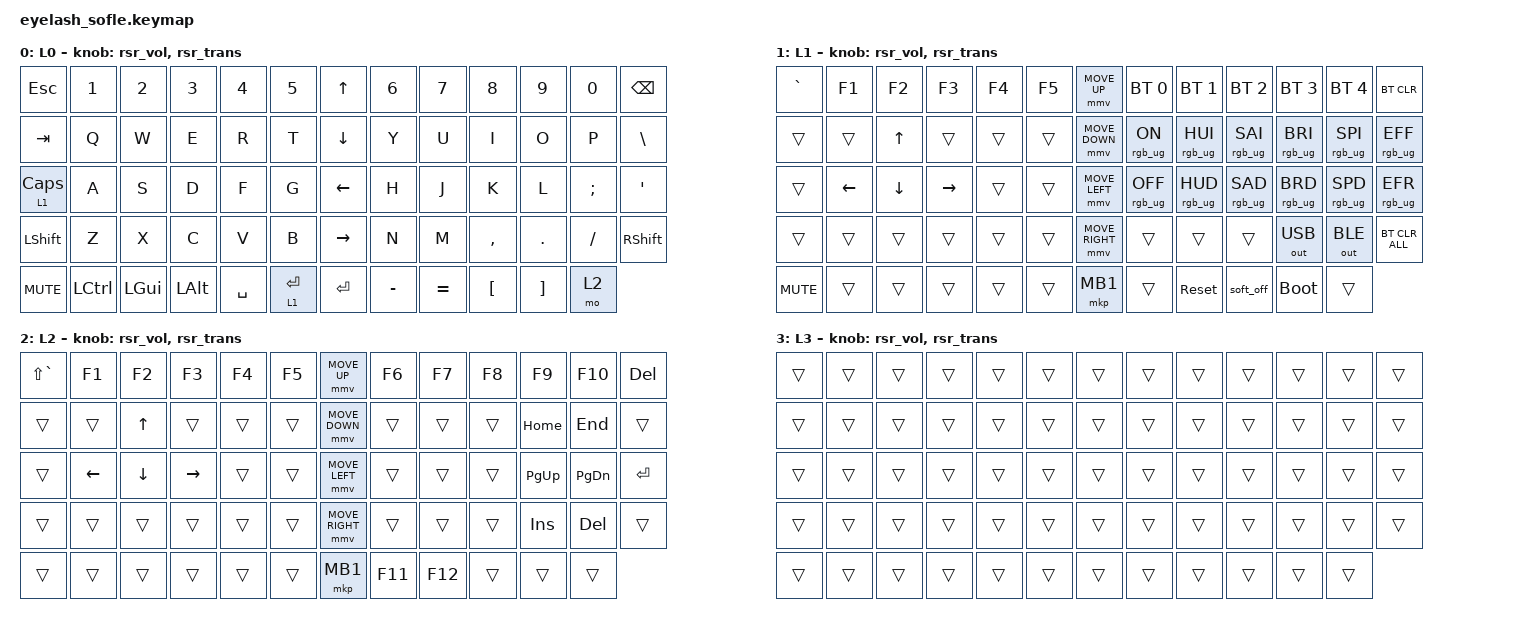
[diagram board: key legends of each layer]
#define ZMK_POINTING_DEFAULT_MOVE_VAL 1200  // 600
#define ZMK_POINTING_DEFAULT_SCRL_VAL 25   // 10

#include <input/processors.dtsi>
#include <zephyr/dt-bindings/input/input-event-codes.h>
#include <behaviors.dtsi>
#include <behaviors/runtime-sensor-rotate.dtsi>
#include <dt-bindings/zmk/bt.h>
#include <dt-bindings/zmk/keys.h>
#include <dt-bindings/zmk/outputs.h>
#include <dt-bindings/zmk/pointing.h>
#include <dt-bindings/zmk/rgb.h>

&mmv_input_listener { input-processors = <&zip_xy_scaler 2 1>; };

&msc_input_listener { input-processors = <&zip_scroll_scaler 2 1>; };

&msc {
    acceleration-exponent = <1>;      // 0
    time-to-max-speed-ms = <100>;       // 300
    delay-ms = <0>;                   // 0
};

&mmv {
    time-to-max-speed-ms = <500>;
    acceleration-exponent = <1>;
    trigger-period-ms = <16>;
};

&soft_off { hold-time-ms = <2000>; };

/ {
    scroll_encoder: scroll_encoder {
        compatible = "zmk,behavior-sensor-rotate";
        #sensor-binding-cells = <0>;
        bindings = <&msc SCRL_DOWN>, <&msc SCRL_UP>;

        tap-ms = <100>;
    };

    behaviors {
        rsr_vol: rsr_vol {
            compatible = "zmk,behavior-runtime-sensor-rotate";
            #sensor-binding-cells = <0>;
            tap-ms = <5>;
            cw-binding = <&kp C_VOL_UP>;
            ccw-binding = <&kp C_VOL_DN>;
        };

        rsr_trans: rsr_trans {
            compatible = "zmk,behavior-runtime-sensor-rotate";
            #sensor-binding-cells = <0>;
            tap-ms = <0>;
        };

        lt_hp: lt_hp {
            compatible = "zmk,behavior-hold-tap";
            #binding-cells = <2>;
            flavor = "hold-preferred";
            tapping-term-ms = <200>;
            bindings = <&mo>, <&kp>;
        };

    };

    combos {
        compatible = "zmk,combos";

        softoff {
            bindings = <&soft_off>;
            key-positions = <14 28 40>;
        };
    };

    keymap {
        compatible = "zmk,keymap";

        layer0 {
            bindings = <
&kp ESC          &kp N1           &kp N2           &kp N3           &kp N4           &kp N5           &kp UP           &kp N6           &kp N7           &kp N8           &kp N9           &kp N0           &kp BACKSPACE
&kp TAB          &kp Q            &kp W            &kp E            &kp R            &kp T            &kp DOWN         &kp Y            &kp U            &kp I            &kp O            &kp P            &kp BSLH
&lt_hp 1 CAPS    &kp A            &kp S            &kp D            &kp F            &kp G            &kp LEFT         &kp H            &kp J            &kp K            &kp L            &kp SEMI         &kp APOS
&kp LSHFT        &kp Z            &kp X            &kp C            &kp V            &kp B            &kp RIGHT        &kp N            &kp M            &kp COMMA        &kp DOT          &kp FSLH         &kp RIGHT_SHIFT
&kp C_MUTE       &kp LCTRL        &kp LEFT_GUI     &kp LEFT_ALT     &kp SPACE        &lt_hp 1 ENTER   &kp ENTER        &kp MINUS        &kp EQUAL        &kp LBKT         &kp RBKT         &mo 2
            >;

            sensor-bindings = <&rsr_vol &rsr_trans>;
            display-name = "L0";
        };

        layer_1 {
            bindings = <
&kp GRAVE        &kp F1           &kp F2           &kp F3           &kp F4           &kp F5           &mmv MOVE_UP     &bt BT_SEL 0     &bt BT_SEL 1     &bt BT_SEL 2     &bt BT_SEL 3     &bt BT_SEL 4     &bt BT_CLR
&trans           &trans           &kp UP           &trans           &trans           &trans           &mmv MOVE_DOWN   &rgb_ug RGB_ON   &rgb_ug RGB_HUI  &rgb_ug RGB_SAI  &rgb_ug RGB_BRI  &rgb_ug RGB_SPI  &rgb_ug RGB_EFF
&trans           &kp LEFT         &kp DOWN         &kp RIGHT        &trans           &trans           &mmv MOVE_LEFT   &rgb_ug RGB_OFF  &rgb_ug RGB_HUD  &rgb_ug RGB_SAD  &rgb_ug RGB_BRD  &rgb_ug RGB_SPD  &rgb_ug RGB_EFR
&trans           &trans           &trans           &trans           &trans           &trans           &mmv MOVE_RIGHT  &trans           &trans           &trans           &out OUT_USB     &out OUT_BLE     &bt BT_CLR_ALL
&kp C_MUTE       &trans           &trans           &trans           &trans           &trans           &mkp MB1         &trans           &sys_reset       &soft_off        &bootloader      &trans
            >;

            sensor-bindings = <&rsr_vol &rsr_trans>;
            display-name = "L1";
        };

        layer_2 {
            bindings = <
&kp LS(GRAVE)    &kp F1           &kp F2           &kp F3           &kp F4           &kp F5           &mmv MOVE_UP     &kp F6           &kp F7           &kp F8           &kp F9           &kp F10          &kp DEL
&trans           &trans           &kp UP           &trans           &trans           &trans           &mmv MOVE_DOWN   &trans           &trans           &trans           &kp HOME         &kp END          &trans
&trans           &kp LEFT         &kp DOWN         &kp RIGHT        &trans           &trans           &mmv MOVE_LEFT   &trans           &trans           &trans           &kp PG_UP        &kp PG_DN        &kp ENTER
&trans           &trans           &trans           &trans           &trans           &trans           &mmv MOVE_RIGHT  &trans           &trans           &trans           &kp INSERT       &kp DEL          &trans
&trans           &trans           &trans           &trans           &trans           &trans           &mkp MB1         &kp F11          &kp F12          &trans           &trans           &trans
            >;

            sensor-bindings = <&rsr_vol &rsr_trans>;
            display-name = "L2";
        };

        layer_3 {
            bindings = <
&trans  &trans  &trans  &trans  &trans  &trans  &trans  &trans  &trans  &trans  &trans  &trans  &trans
&trans  &trans  &trans  &trans  &trans  &trans  &trans  &trans  &trans  &trans  &trans  &trans  &trans
&trans  &trans  &trans  &trans  &trans  &trans  &trans  &trans  &trans  &trans  &trans  &trans  &trans
&trans  &trans  &trans  &trans  &trans  &trans  &trans  &trans  &trans  &trans  &trans  &trans  &trans
&trans  &trans  &trans  &trans  &trans  &trans  &trans  &trans  &trans  &trans  &trans  &trans
            >;

            sensor-bindings = <&rsr_vol &rsr_trans>;
            display-name = "L3";
        };
    };
};
